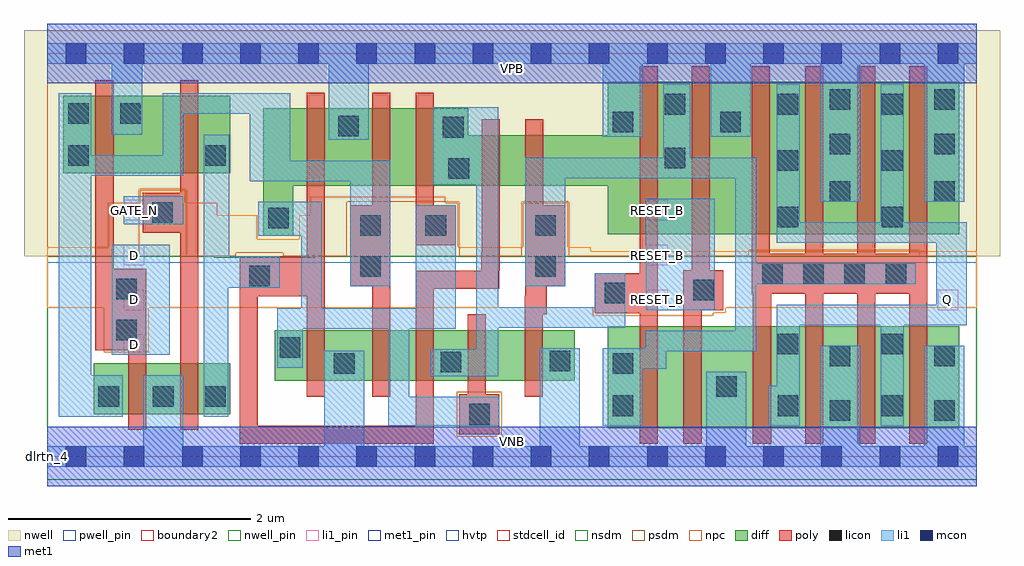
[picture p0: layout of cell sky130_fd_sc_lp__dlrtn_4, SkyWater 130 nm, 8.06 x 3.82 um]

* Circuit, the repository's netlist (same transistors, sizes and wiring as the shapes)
* Copyright 2020 The SkyWater PDK Authors
*
* Licensed under the Apache License, Version 2.0 (the "License");
* you may not use this file except in compliance with the License.
* You may obtain a copy of the License at
*
*     https://www.apache.org/licenses/LICENSE-2.0
*
* Unless required by applicable law or agreed to in writing, software
* distributed under the License is distributed on an "AS IS" BASIS,
* WITHOUT WARRANTIES OR CONDITIONS OF ANY KIND, either express or implied.
* See the License for the specific language governing permissions and
* limitations under the License.
*
* SPDX-License-Identifier: Apache-2.0

.SUBCKT sky130_fd_sc_lp__dlrtn_4 D GATE_N RESET_B VGND VNB VPB VPWR Q
*.PININFO D:I GATE_N:I RESET_B:I VGND:I VNB:I VPB:I VPWR:I Q:O
MI635 clkneg clkpos VPWR VPB sky130_fd_pr__pfet_01v8_hvt m=1 w=0.64U l=0.15U mult=1
+ sa=0.265 sb=0.265 sd=0.28 area=0.063 perim=1.14
MI17 M0 clkneg net51 VPB sky130_fd_pr__pfet_01v8_hvt m=1 w=0.64U l=0.15U mult=1
+ sa=0.265 sb=0.265 sd=0.28 area=0.063 perim=1.14
MI650 Q m1 VPWR VPB sky130_fd_pr__pfet_01v8_hvt m=4 w=1.26U l=0.15U mult=1 sa=0.265
+ sb=0.265 sd=0.28 area=0.063 perim=1.14
MI633 clkpos GATE_N VPWR VPB sky130_fd_pr__pfet_01v8_hvt m=1 w=0.64U l=0.15U mult=1
+ sa=0.265 sb=0.265 sd=0.28 area=0.063 perim=1.14
MI658 m1 RESET_B VPWR VPB sky130_fd_pr__pfet_01v8_hvt m=1 w=1.26U l=0.15U mult=1
+ sa=0.265 sb=0.265 sd=0.28 area=0.063 perim=1.14
MI18 net51 db VPWR VPB sky130_fd_pr__pfet_01v8_hvt m=1 w=0.64U l=0.15U mult=1 sa=0.265
+ sb=0.265 sd=0.28 area=0.063 perim=1.14
MI653 net59 m1 VPWR VPB sky130_fd_pr__pfet_01v8_hvt m=1 w=0.42U l=0.15U mult=1
+ sa=0.265 sb=0.265 sd=0.28 area=0.063 perim=1.14
MI651 M0 clkpos net59 VPB sky130_fd_pr__pfet_01v8_hvt m=1 w=0.42U l=0.15U mult=1
+ sa=0.265 sb=0.265 sd=0.28 area=0.063 perim=1.14
MI655 m1 M0 VPWR VPB sky130_fd_pr__pfet_01v8_hvt m=1 w=1.26U l=0.15U mult=1 sa=0.265
+ sb=0.265 sd=0.28 area=0.063 perim=1.14
MI638 db D VPWR VPB sky130_fd_pr__pfet_01v8_hvt m=1 w=0.64U l=0.15U mult=1 sa=0.265
+ sb=0.265 sd=0.28 area=0.063 perim=1.14
MI634 clkpos GATE_N VGND VNB sky130_fd_pr__nfet_01v8 m=1 w=0.42U l=0.15U mult=1
+ sa=0.265 sb=0.265 sd=0.28 area=0.063 perim=1.14
MI649 Q m1 VGND VNB sky130_fd_pr__nfet_01v8 m=4 w=0.84U l=0.15U mult=1 sa=0.265
+ sb=0.265 sd=0.28 area=0.063 perim=1.14
MI657 net86 RESET_B VGND VNB sky130_fd_pr__nfet_01v8 m=1 w=0.84U l=0.15U mult=1
+ sa=0.265 sb=0.265 sd=0.28 area=0.063 perim=1.14
MI652 M0 clkneg net102 VNB sky130_fd_pr__nfet_01v8 m=1 w=0.42U l=0.15U mult=1 sa=0.265
+ sb=0.265 sd=0.28 area=0.063 perim=1.14
MI654 net102 m1 VGND VNB sky130_fd_pr__nfet_01v8 m=1 w=0.42U l=0.15U mult=1 sa=0.265
+ sb=0.265 sd=0.28 area=0.063 perim=1.14
MI656 m1 M0 net86 VNB sky130_fd_pr__nfet_01v8 m=1 w=0.84U l=0.15U mult=1 sa=0.265
+ sb=0.265 sd=0.28 area=0.063 perim=1.14
MI636 clkneg clkpos VGND VNB sky130_fd_pr__nfet_01v8 m=1 w=0.42U l=0.15U mult=1
+ sa=0.265 sb=0.265 sd=0.28 area=0.063 perim=1.14
MI637 db D VGND VNB sky130_fd_pr__nfet_01v8 m=1 w=0.42U l=0.15U mult=1 sa=0.265
+ sb=0.265 sd=0.28 area=0.063 perim=1.14
MI19 M0 clkpos net98 VNB sky130_fd_pr__nfet_01v8 m=1 w=0.42U l=0.15U mult=1 sa=0.265
+ sb=0.265 sd=0.28 area=0.063 perim=1.14
MI20 net98 db VGND VNB sky130_fd_pr__nfet_01v8 m=1 w=0.42U l=0.15U mult=1 sa=0.265
+ sb=0.265 sd=0.28 area=0.063 perim=1.14
.ENDS sky130_fd_sc_lp__dlrtn_4

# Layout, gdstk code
import gdstk
lib = gdstk.Library(unit=1e-6, precision=1e-09)
def R(c, l, rs):  # rectangles x0, y0, x1, y1
    for r in rs: c.add(gdstk.rectangle(r[:2], r[2:], *l))
def A(c, l, x, y, w, h, nx, ny, dx, dy):  # array of equal rectangles
    R(c, l, [(x+i*dx, y+j*dy, x+i*dx+w, y+j*dy+h) for i in range(nx) for j in range(ny)])
def P(c, l, *ps):  # polygons
    for p in ps: c.add(gdstk.Polygon(p, *l))
nwell_pin = (64, 16)
nwell = (64, 20)
diff = (65, 20)
poly = (66, 20)
licon = (66, 44)
li1_pin = (67, 16)
li1 = (67, 20)
mcon = (67, 44)
met1_pin = (68, 16)
met1 = (68, 20)
hvtp = (78, 44)
stdcell_id = (81, 4)
nsdm = (93, 44)
psdm = (94, 20)
npc = (95, 20)
pwell_pin = (122, 16)
boundary2 = (236, 0)

sky130_fd_sc_lp__dlrtn_4 = lib.new_cell('sky130_fd_sc_lp__dlrtn_4')
R(sky130_fd_sc_lp__dlrtn_4, nwell_pin, [(0,3.085,7.68,3.33)])
P(sky130_fd_sc_lp__dlrtn_4, nwell, [(7.87,3.52),(-0.19,3.52),(-0.19,1.655),(1.375,1.655),(1.375,1.645),(2.215,1.645),(2.215,1.655),(7.87,1.655)])
R(sky130_fd_sc_lp__dlrtn_4, diff, [(4.63,0.235,7.535,1.075), (0.385,0.35,1.515,0.77), (1.88,0.625,4.36,1.045), (0.135,2.34,1.515,2.98)])
P(sky130_fd_sc_lp__dlrtn_4, diff, [(7.535,3.095),(4.63,3.095),(4.63,2.655),(3.48,2.655),(3.48,2.875),(1.785,2.875),(1.785,1.825),(2.035,1.825),(2.035,2.235),(4.63,2.235),(4.63,1.835),(7.535,1.835)])
P(sky130_fd_sc_lp__dlrtn_4, poly, [(0.82,1.55),(0.55,1.55),(0.55,3.11),(0.4,3.11),(0.4,0.88),(0.67,0.88),(0.67,0.22),(0.82,0.22)],
  [(1.25,3.11),(1.1,3.11),(1.1,2.18),(0.79,2.18),(0.79,1.85),(1.1,1.85),(1.1,0.22),(1.25,0.22)],
  [(2.835,3.005),(2.685,3.005),(2.685,2.075),(2.505,2.075),(2.505,1.405),(2.685,1.405),(2.685,0.495),(2.835,0.495)],
  [(3.375,2.075),(3.195,2.075),(3.195,3.005),(3.045,3.005),(3.045,1.745),(3.375,1.745)],
  [(3.735,0.515),(3.625,0.515),(3.625,1.175),(3.475,1.175),(3.475,0.515),(3.405,0.515),(3.405,0.185),(3.735,0.185)],
  [(3.74,2.785),(3.59,2.785),(3.59,1.685),(3.585,1.685),(3.585,1.535),(3.045,1.535),(3.045,0.255),(1.74,0.255),(1.74,1.325),(2.145,1.325),(2.145,0.495),(2.295,0.495),(2.295,3.005),(2.145,3.005),(2.145,1.655),(1.59,1.655),(1.59,0.105),(3.195,0.105),(3.195,1.385),(3.735,1.385),(3.735,1.535),(3.74,1.535)],
  [(4.28,2.075),(4.1,2.075),(4.1,2.785),(3.95,2.785),(3.95,1.325),(3.945,1.325),(3.945,0.495),(4.095,0.495),(4.095,1.175),(4.125,1.175),(4.125,1.405),(4.28,1.405)],
  [(5.045,3.225),(4.895,3.225),(4.895,1.515),(4.525,1.515),(4.525,1.185),(4.895,1.185),(4.895,0.105),(5.045,0.105)],
  [(5.585,1.54),(5.475,1.54),(5.475,3.225),(5.325,3.225),(5.325,1.54),(5.255,1.54),(5.255,0.105),(5.405,0.105),(5.405,1.21),(5.585,1.21)],
  [(7.27,3.225),(7.12,3.225),(7.12,1.675),(6.84,1.675),(6.84,3.225),(6.69,3.225),(6.69,1.675),(6.41,1.675),(6.41,3.225),(6.26,3.225),(6.26,1.675),(5.97,1.675),(5.97,3.225),(5.82,3.225),(5.82,1.345),(5.83,1.345),(5.83,0.105),(5.98,0.105),(5.98,1.345),(6.26,1.345),(6.26,0.105),(6.41,0.105),(6.41,1.345),(6.69,1.345),(6.69,0.105),(6.84,0.105),(6.84,1.345),(7.12,1.345),(7.12,0.105),(7.27,0.105)])
A(sky130_fd_sc_lp__dlrtn_4, licon, 5.905, 1.425, 0.17, 0.17, 4, 1, 0.34, 0)
A(sky130_fd_sc_lp__dlrtn_4, licon, 6.035, 1.895, 0.17, 0.17, 1, 3, 0, 0.465)
A(sky130_fd_sc_lp__dlrtn_4, licon, 6.895, 1.895, 0.17, 0.17, 1, 3, 0, 0.465)
R(sky130_fd_sc_lp__dlrtn_4, licon, [(3.485,0.265,3.655,0.435), (6.465,0.295,6.635,0.465), (7.325,0.295,7.495,0.465), (4.67,0.335,4.84,0.505), (6.035,0.335,6.205,0.505), (6.895,0.335,7.065,0.505), (0.425,0.41,0.595,0.58), (0.875,0.41,1.045,0.58), (1.305,0.41,1.475,0.58), (5.525,0.495,5.695,0.665), (2.37,0.685,2.54,0.855), (4.67,0.685,4.84,0.855), (3.25,0.695,3.42,0.865), (4.15,0.705,4.32,0.875), (6.465,0.745,6.635,0.915), (7.325,0.745,7.495,0.915), (1.92,0.815,2.09,0.985), (6.035,0.845,6.205,1.015), (6.895,0.845,7.065,1.015), (0.57,0.96,0.74,1.13), (4.605,1.265,4.775,1.435), (5.335,1.29,5.505,1.46), (0.57,1.3,0.74,1.47), (1.67,1.405,1.84,1.575), (2.585,1.485,2.755,1.655), (4.03,1.485,4.2,1.655), (2.585,1.825,2.755,1.995), (3.125,1.825,3.295,1.995), (4.03,1.825,4.2,1.995), (1.825,1.885,1.995,2.055), (0.87,1.93,1.04,2.1), (6.465,2.105,6.635,2.275), (7.325,2.105,7.495,2.275), (3.315,2.295,3.485,2.465), (5.1,2.38,5.27,2.55), (0.175,2.4,0.345,2.57), (1.305,2.4,1.475,2.57), (6.465,2.495,6.635,2.665), (7.325,2.495,7.495,2.665), (3.27,2.635,3.44,2.805), (2.405,2.645,2.575,2.815), (4.67,2.68,4.84,2.85), (5.56,2.68,5.73,2.85), (0.175,2.75,0.345,2.92), (0.605,2.75,0.775,2.92), (5.1,2.825,5.27,2.995), (6.465,2.865,6.635,3.035), (7.325,2.865,7.495,3.035)])
A(sky130_fd_sc_lp__dlrtn_4, li1_pin, 0.635, 0.84, 0.17, 0.17, 1, 4, 0, 0.37)
A(sky130_fd_sc_lp__dlrtn_4, li1_pin, 4.955, 1.21, 0.17, 0.17, 1, 3, 0, 0.37)
R(sky130_fd_sc_lp__dlrtn_4, li1_pin, [(7.355,1.21,7.525,1.38)])
R(sky130_fd_sc_lp__dlrtn_4, li1, [(0.535,0.84,1.015,1.75), (4.945,1.21,5.515,2.13), (0.635,1.92,1.125,2.15)])
P(sky130_fd_sc_lp__dlrtn_4, li1, [(7.175,1.595),(5.855,1.595),(5.855,2.47),(5.31,2.47),(5.31,3.075),(5.09,3.075),(5.09,2.47),(3.95,2.47),(3.95,1.405),(4.28,1.405),(4.28,2.3),(5.685,2.3),(5.685,1.04),(4.945,1.04),(4.945,0.895),(4.59,0.895),(4.59,0.255),(4.92,0.255),(4.92,0.725),(5.115,0.725),(5.115,0.87),(5.855,0.87),(5.855,1.425),(7.175,1.425)],
  [(7.595,1.935),(7.075,1.935),(7.075,3.075),(6.885,3.075),(6.885,1.935),(6.215,1.935),(6.215,3.075),(6.025,3.075),(6.025,1.765),(7.345,1.765),(7.345,1.255),(6.025,1.255),(6.025,0.585),(5.955,0.585),(5.955,0.255),(6.215,0.255),(6.215,1.085),(6.885,1.085),(6.885,0.255),(7.075,0.255),(7.075,1.085),(7.595,1.085)],
  [(4.775,1.515),(4.525,1.515),(4.525,1.235),(3.725,1.235),(3.725,2.885),(3.19,2.885),(3.19,2.245),(3.545,2.245),(3.545,0.885),(3.17,0.885),(3.17,0.665),(3.725,0.665),(3.725,1.065),(4.775,1.065)],
  [(1.92,1.655),(1.505,1.655),(1.505,2.66),(1.295,2.66),(1.295,0.33),(1.495,0.33),(1.495,1.395),(1.92,1.395)],
  [(7.68,3.415),(0,3.415),(0,3.245),(0.535,3.245),(0.535,2.66),(0.785,2.66),(0.785,3.245),(2.325,3.245),(2.325,2.615),(2.655,2.615),(2.655,3.245),(4.59,3.245),(4.59,2.64),(4.92,2.64),(4.92,3.245),(5.48,3.245),(5.48,2.64),(5.81,2.64),(5.81,3.245),(6.385,3.245),(6.385,2.105),(6.715,2.105),(6.715,3.245),(7.245,3.245),(7.245,2.105),(7.575,2.105),(7.575,3.245),(7.68,3.245)],
  [(3.735,0.495),(2.99,0.495),(2.99,1.055),(3.375,1.055),(3.375,2.075),(3.045,2.075),(3.045,1.225),(2.27,1.225),(2.27,2.105),(1.745,2.105),(1.745,1.825),(2.1,1.825),(2.1,1.225),(1.9,1.225),(1.9,0.735),(2.11,0.735),(2.11,1.055),(2.82,1.055),(2.82,0.255),(3.735,0.255)],
  [(7.68,0.085),(7.575,0.085),(7.575,0.915),(7.245,0.915),(7.245,0.085),(6.715,0.085),(6.715,0.915),(6.385,0.915),(6.385,0.085),(5.775,0.085),(5.775,0.7),(5.445,0.7),(5.445,0.085),(4.4,0.085),(4.4,0.895),(4.07,0.895),(4.07,0.085),(2.62,0.085),(2.62,0.875),(2.29,0.875),(2.29,0.085),(1.125,0.085),(1.125,0.67),(0.795,0.67),(0.795,0.085),(0,0.085),(0,-0.085),(7.68,-0.085)],
  [(2.835,2.445),(2.01,2.445),(2.01,3),(0.955,3),(0.955,2.49),(0.365,2.49),(0.365,3),(0.095,3),(0.095,0.33),(0.625,0.33),(0.625,0.67),(0.365,0.67),(0.365,2.32),(1.125,2.32),(1.125,2.83),(1.675,2.83),(1.675,2.275),(2.505,2.275),(2.505,1.405),(2.835,1.405)])
A(sky130_fd_sc_lp__dlrtn_4, mcon, 0.155, -0.085, 0.17, 0.17, 16, 2, 0.48, 3.33)
R(sky130_fd_sc_lp__dlrtn_4, met1_pin, [(0,0,7.68,0.245), (0,3.085,7.68,3.33)])
R(sky130_fd_sc_lp__dlrtn_4, met1, [(0,-0.245,7.68,0.245), (0,3.085,7.68,3.575)])
R(sky130_fd_sc_lp__dlrtn_4, hvtp, [(0,1.6,7.68,3.33)])
R(sky130_fd_sc_lp__dlrtn_4, stdcell_id, [(0,0,7.68,3.33)])
P(sky130_fd_sc_lp__dlrtn_4, nsdm, [(7.68,1.655),(2.215,1.655),(2.215,1.645),(1.375,1.645),(1.375,1.655),(0,1.655),(0,-0.19),(7.68,-0.19)])
P(sky130_fd_sc_lp__dlrtn_4, psdm, [(7.68,3.52),(0,3.52),(0,1.655),(0.76,1.655),(0.76,2.21),(1.15,2.21),(1.15,1.655),(1.56,1.655),(1.56,1.685),(1.95,1.685),(1.95,1.655),(2.475,1.655),(2.475,2.105),(3.405,2.105),(3.405,1.655),(3.92,1.655),(3.92,2.105),(4.31,2.105),(4.31,1.655),(5.795,1.655),(5.795,1.705),(7.205,1.705),(7.205,1.655),(7.68,1.655)])
R(sky130_fd_sc_lp__dlrtn_4, npc, [(3.385,0.165,3.755,0.535)])
P(sky130_fd_sc_lp__dlrtn_4, npc, [(7.68,1.695),(4.49,1.695),(4.49,1.73),(4.3,1.73),(4.3,2.095),(3.93,2.095),(3.93,1.73),(3.395,1.73),(3.395,2.095),(3.29,2.095),(3.29,2.145),(2.175,2.145),(2.175,1.995),(2.085,1.995),(2.085,1.795),(1.735,1.795),(1.735,1.995),(1.405,1.995),(1.405,2.095),(1.14,2.095),(1.14,2.2),(0.77,2.2),(0.77,2.095),(0.505,2.095),(0.505,1.73),(0,1.73),(0,1.23),(0.47,1.23),(0.47,0.86),(0.84,0.86),(0.84,1.23),(4.505,1.23),(4.505,1.165),(5.5,1.165),(5.5,1.19),(5.605,1.19),(5.605,1.23),(7.68,1.23)])
R(sky130_fd_sc_lp__dlrtn_4, pwell_pin, [(0,0,7.68,0.245)])
R(sky130_fd_sc_lp__dlrtn_4, boundary2, [(0,0,7.68,3.33)])
sky130_fd_sc_lp__dlrtn_4.add(gdstk.Label('VNB', (3.84,0.123), layer=64, texttype=59))
sky130_fd_sc_lp__dlrtn_4.add(gdstk.Label('VPB', (3.84,3.208), layer=64, texttype=5))
sky130_fd_sc_lp__dlrtn_4.add(gdstk.Label('dlrtn_4', (0,0), layer=83, texttype=44))
sky130_fd_sc_lp__dlrtn_4.add(gdstk.Label('VPWR', (3.84,3.208), layer=68, texttype=5))
sky130_fd_sc_lp__dlrtn_4.add(gdstk.Label('VGND', (3.84,0.123), layer=68, texttype=5))
sky130_fd_sc_lp__dlrtn_4.add(gdstk.Label('Q', (7.44,1.295), layer=67, texttype=5))
sky130_fd_sc_lp__dlrtn_4.add(gdstk.Label('D', (0.72,0.925), layer=67, texttype=5))
sky130_fd_sc_lp__dlrtn_4.add(gdstk.Label('D', (0.72,1.295), layer=67, texttype=5))
sky130_fd_sc_lp__dlrtn_4.add(gdstk.Label('D', (0.72,1.665), layer=67, texttype=5))
sky130_fd_sc_lp__dlrtn_4.add(gdstk.Label('RESET_B', (5.04,1.295), layer=67, texttype=5))
sky130_fd_sc_lp__dlrtn_4.add(gdstk.Label('RESET_B', (5.04,1.665), layer=67, texttype=5))
sky130_fd_sc_lp__dlrtn_4.add(gdstk.Label('RESET_B', (5.04,2.035), layer=67, texttype=5))
sky130_fd_sc_lp__dlrtn_4.add(gdstk.Label('GATE_N', (0.72,2.035), layer=67, texttype=5))

lib.write_gds('sky130_fd_sc_lp__dlrtn_4.gds')
